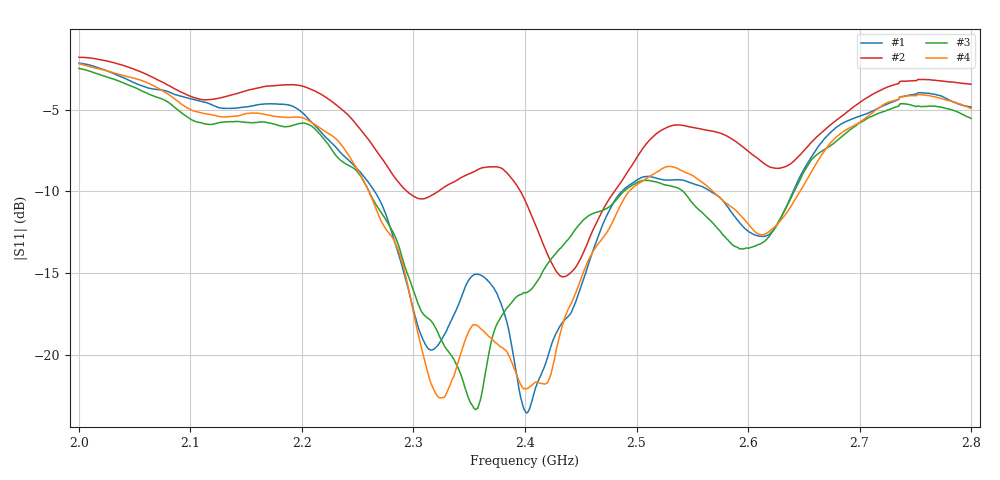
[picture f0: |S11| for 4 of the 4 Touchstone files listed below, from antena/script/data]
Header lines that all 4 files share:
!Agilent N9923A: A.05.17
!Model: N9923A
!Serial: MY50371189
!Correction: S11(ON U)
!S1P File: Measurement: S11:
# Hz S DB R 50
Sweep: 2 GHz to 2.8 GHz
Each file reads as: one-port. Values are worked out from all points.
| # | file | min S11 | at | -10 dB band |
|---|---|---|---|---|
| 1 | AutoSave1.s1p | -23.6 dB | 2.402 GHz | 221.8 MHz wide |
| 2 | AutoSave2.s1p | -15.2 dB | 2.434 GHz | 84.3 MHz wide |
| 3 | AutoSave3.s1p | -23.4 dB | 2.356 GHz | 228.7 MHz wide |
| 4 | AutoSave4.s1p | -22.7 dB | 2.325 GHz | 233.6 MHz wide |
